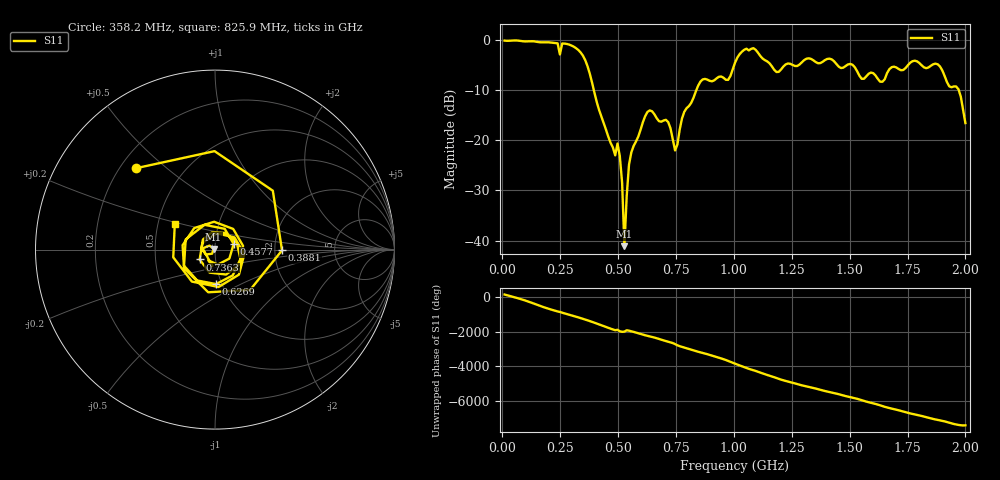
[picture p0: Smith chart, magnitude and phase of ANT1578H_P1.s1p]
!Created with skrf (http://scikit-rf.org).
# Hz S RI R 50.0
!freq ReS11 ImS11
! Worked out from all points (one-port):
!   201 points, 10 MHz to 2 GHz, reference 50 ohm
!   lowest |S11| = -41.1 dB at 527.4 MHz (marker M1), VSWR 1.02, Z = 49.2 + j0.364 ohm
!   |S11| at or under -10 dB: 395.4 MHz to 837.9 MHz (442.5 MHz wide, 71.8 % of centre); 1.971 GHz to end of sweep
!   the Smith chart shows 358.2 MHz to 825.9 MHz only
!   S11 on the Smith chart (normalised r, x): 358.2 MHz: 0.26, +0.40; 388.1 MHz: 2.19, -0.02; 457.8 MHz: 1.23, +0.08; 626.9 MHz: 0.94, -0.37; 736.4 MHz: 0.84, -0.09; 825.9 MHz: 0.61, +0.19
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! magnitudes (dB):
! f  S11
! 10 MHz  -0.1
! 248.8 MHz  -2.9
! 258.8 MHz  -0.7
! 358.2 MHz  -4.0
! 388.1 MHz  -8.6
! 457.8 MHz  -19.3
! 507.5 MHz  -23.1
! 517.5 MHz  -28.5
! 527.4 MHz  -41.1
! 547.3 MHz  -24.8
! 626.9 MHz  -14.3
! 716.5 MHz  -16.4
! 736.4 MHz  -19.8
! 756.2 MHz  -20.8
! 786.1 MHz  -14.3
! 825.9 MHz  -11.5
! 865.7 MHz  -7.8
! 975.1 MHz  -7.9
! 1.005 GHz  -4.5
! 1.085 GHz  -1.6
! 1.184 GHz  -6.4
! 1.254 GHz  -5.0
! 1.502 GHz  -4.7
! 1.642 GHz  -8.3
! 1.751 GHz  -5.0
! 1.891 GHz  -5.3
! 1.97 GHz  -9.8
! 2 GHz  -16.6
